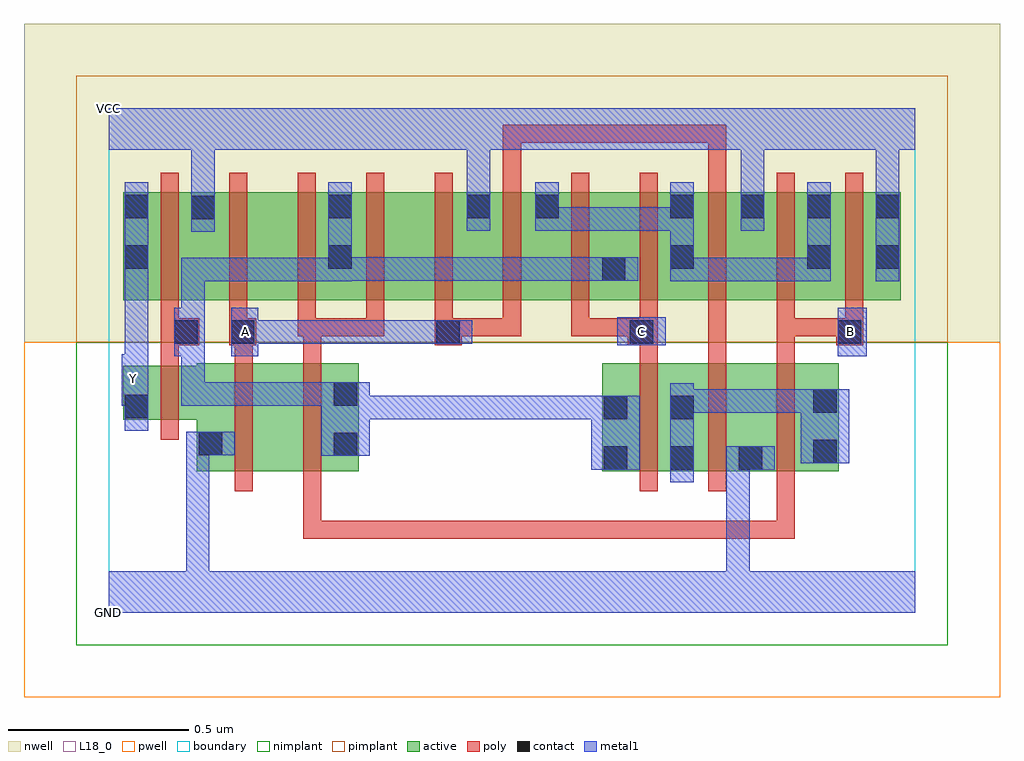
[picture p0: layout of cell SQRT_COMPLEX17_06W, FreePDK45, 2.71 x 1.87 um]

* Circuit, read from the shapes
.subckt SQRT_COMPLEX17_06W A B C GND VCC Y
M1 GND n1 Y VSUBS nfet w=0.15u l=0.05u
M2 n2 A GND VSUBS nfet w=0.3u l=0.05u
M3 n1 B n2 VSUBS nfet w=0.3u l=0.05u
M4 n3 C n1 VSUBS nfet w=0.3u l=0.05u
M5 GND A n3 VSUBS nfet w=0.3u l=0.05u
M6 n3 B GND VSUBS nfet w=0.3u l=0.05u
M7 VCC n1 Y n4 pfet w=0.3u l=0.05u
M8 n5 A VCC n4 pfet w=0.3u l=0.05u
M9 n1 B n5 n4 pfet w=0.3u l=0.05u
M10 n6 B n1 n4 pfet w=0.3u l=0.05u
M11 VCC A n6 n4 pfet w=0.3u l=0.05u
M12 n7 A VCC n4 pfet w=0.3u l=0.05u m=2
M13 n1 C n7 n4 pfet w=0.3u l=0.05u m=2
M14 n7 B VCC n4 pfet w=0.3u l=0.05u m=2
.ends

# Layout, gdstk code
import gdstk
lib = gdstk.Library(unit=1e-6, precision=1e-09)
def R(c, l, rs):  # rectangles x0, y0, x1, y1
    for r in rs: c.add(gdstk.rectangle(r[:2], r[2:], *l))
def A(c, l, x, y, w, h, nx, ny, dx, dy):  # array of equal rectangles
    R(c, l, [(x+i*dx, y+j*dy, x+i*dx+w, y+j*dy+h) for i in range(nx) for j in range(ny)])
active = (1, 0)
pwell = (2, 0)
nwell = (3, 0)
nimplant = (4, 0)
pimplant = (5, 0)
poly = (9, 0)
contact = (10, 0)
metal1 = (11, 0)
L18_0 = (18, 0)
boundary = (235, 0)

sqrt_complex17_06w = lib.new_cell('SQRT_COMPLEX17_06W')
R(sqrt_complex17_06w, active, [(0.245,0.392,0.47,0.692), (0.245,0.392,0.32,0.662), (0.47,0.392,0.695,0.692), (0.62,0.392,0.695,0.692), (1.37,0.392,1.445,0.692), (1.37,0.392,1.63,0.692), (1.555,0.392,1.82,0.692), (1.555,0.392,1.63,0.607), (1.745,0.392,1.82,0.692), (1.745,0.392,2.027,0.692), (1.952,0.392,2.027,0.692), (0.04,0.535,0.32,0.685), (0.04,0.535,0.115,0.685), (0.04,0.867,0.3,1.167), (0.04,0.867,0.115,1.165), (0.225,0.867,0.3,1.167), (0.225,0.867,0.455,1.167), (0.455,0.867,0.68,1.167), (0.605,0.867,0.835,1.167), (0.605,0.867,0.68,1.165), (0.835,0.867,1.065,1.167), (0.99,0.867,1.065,1.167), (0.99,0.867,1.255,1.167), (1.18,0.867,1.255,1.167), (1.18,0.867,1.44,1.167), (1.365,0.867,1.63,1.167), (1.365,0.867,1.44,1.07), (1.555,0.867,1.63,1.167), (1.555,0.867,1.825,1.167), (1.75,0.867,1.825,1.167), (1.75,0.867,2.01,1.167), (1.935,0.867,2.01,1.167), (1.935,0.867,2.2,1.167), (2.125,0.867,2.2,1.167)])
R(sqrt_complex17_06w, pwell, [(-0.235,-0.235,2.475,0.75)])
R(sqrt_complex17_06w, nwell, [(-0.235,0.75,2.475,1.635)])
R(sqrt_complex17_06w, nimplant, [(-0.09,-0.09,2.33,0.75)])
R(sqrt_complex17_06w, pimplant, [(-0.09,0.75,2.33,1.49)])
A(sqrt_complex17_06w, poly, 1.475, 0.337, 0.05, 0.41, 3, 1, 0.19, 0)
A(sqrt_complex17_06w, poly, 0.145, 0.767, 0.05, 0.095, 8, 1, 0.19, 0)
A(sqrt_complex17_06w, poly, 0.145, 0.812, 0.05, 0.41, 11, 1, 0.19, 0)
R(sqrt_complex17_06w, poly, [(0.54,0.205,0.59,0.255), (0.54,0.205,0.59,0.255), (0.54,0.205,0.59,0.255), (0.54,0.205,0.59,0.387), (0.54,0.205,0.822,0.255), (0.772,0.205,0.822,0.255), (0.772,0.205,0.822,0.255), (0.772,0.205,0.822,0.255), (0.772,0.205,1.012,0.255), (0.962,0.205,1.012,0.255), (0.962,0.205,1.012,0.255), (0.962,0.205,1.012,0.255), (0.962,0.205,1.145,0.255), (1.095,0.205,1.145,0.255), (1.095,0.205,1.145,0.255), (1.095,0.205,1.145,0.255), (1.095,0.205,1.335,0.255), (1.285,0.205,1.335,0.255), (1.285,0.205,1.467,0.255), (1.417,0.205,1.467,0.255), (1.417,0.205,1.467,0.255), (1.417,0.205,1.467,0.255), (1.417,0.205,1.632,0.255), (1.582,0.205,1.632,0.255), (1.582,0.205,1.772,0.255), (1.722,0.205,1.772,0.255), (1.722,0.205,1.905,0.255), (1.855,0.205,1.905,0.255), (1.855,0.205,1.905,0.255), (1.855,0.205,1.905,0.255), (1.855,0.205,1.905,0.387), (0.35,0.337,0.4,0.747), (0.54,0.337,0.59,0.747), (0.145,0.48,0.195,0.74), (0.145,0.69,0.195,0.792), (0.35,0.697,0.4,0.792), (0.54,0.697,0.59,0.817), (1.475,0.697,1.525,0.792), (1.665,0.697,1.715,0.792), (1.855,0.697,1.905,0.817), (0.145,0.742,0.252,0.817), (0.335,0.742,0.41,0.817), (0.905,0.742,0.98,0.817), (1.442,0.742,1.525,0.817), (1.665,0.742,1.715,0.792), (1.665,0.742,1.715,0.862), (2.02,0.742,2.095,0.817), (0.525,0.767,0.59,0.817), (0.54,0.767,0.59,0.817), (0.54,0.767,0.59,0.817), (0.54,0.767,0.765,0.817), (0.715,0.767,0.765,0.817), (0.93,0.767,0.98,0.817), (0.93,0.767,0.98,0.817), (0.93,0.767,1.145,0.817), (1.095,0.767,1.145,0.817), (1.285,0.767,1.335,0.817), (1.285,0.767,1.335,0.817), (1.285,0.767,1.335,0.817), (1.285,0.767,1.492,0.817), (1.855,0.767,1.905,0.862), (1.855,0.767,1.905,0.817), (1.855,0.767,2.07,0.817), (2.02,0.767,2.07,0.817), (2.02,0.767,2.07,0.817), (2.045,0.767,2.095,0.862), (1.095,1.172,1.145,1.355), (1.665,1.172,1.715,1.355), (1.095,1.305,1.145,1.355), (1.095,1.305,1.145,1.355), (1.095,1.305,1.145,1.355), (1.095,1.305,1.277,1.355), (1.227,1.305,1.277,1.355), (1.227,1.305,1.277,1.355), (1.227,1.305,1.277,1.355), (1.227,1.305,1.517,1.355), (1.467,1.305,1.517,1.355), (1.467,1.305,1.715,1.355), (1.665,1.305,1.715,1.355), (1.665,1.305,1.715,1.355), (1.665,1.305,1.715,1.355)])
R(sqrt_complex17_06w, contact, [(1.375,0.397,1.44,0.462), (1.56,0.397,1.625,0.462), (1.75,0.397,1.815,0.462), (1.957,0.415,2.022,0.48), (0.625,0.435,0.69,0.5), (0.25,0.437,0.315,0.502), (1.375,0.537,1.44,0.602), (1.56,0.537,1.625,0.602), (0.045,0.54,0.11,0.605), (1.957,0.555,2.022,0.62), (0.625,0.575,0.69,0.64), (0.182,0.747,0.247,0.812), (0.34,0.747,0.405,0.812), (0.91,0.747,0.975,0.812), (1.447,0.747,1.512,0.812), (2.025,0.747,2.09,0.812), (1.37,0.922,1.435,0.987), (0.045,0.955,0.11,1.02), (0.61,0.955,0.675,1.02), (1.56,0.955,1.625,1.02), (1.94,0.955,2.005,1.02), (2.13,0.955,2.195,1.02), (0.23,1.092,0.295,1.157), (0.045,1.095,0.11,1.16), (0.61,1.095,0.675,1.16), (0.995,1.095,1.06,1.16), (1.185,1.095,1.25,1.16), (1.56,1.095,1.625,1.16), (1.755,1.095,1.82,1.16), (1.94,1.095,2.005,1.16), (2.13,1.095,2.195,1.16)])
R(sqrt_complex17_06w, metal1, [(0,0,2.24,0.115), (0.215,0.05,0.28,0.115), (0.215,0.05,0.28,0.115), (0.215,0.05,0.28,0.115), (0.215,0.05,0.28,0.115), (0.215,0.05,0.28,0.502), (1.715,0.05,1.78,0.115), (1.715,0.05,1.78,0.115), (1.715,0.05,1.78,0.462), (1.56,0.362,1.625,0.637), (1.34,0.397,1.475,0.602), (1.715,0.397,1.78,0.462), (1.715,0.397,1.78,0.462), (1.715,0.397,1.85,0.462), (1.922,0.415,2.057,0.62), (0.59,0.435,0.725,0.64), (0.215,0.437,0.35,0.502), (0.045,0.505,0.11,0.64), (0.66,0.537,0.795,0.602), (0.73,0.537,0.795,0.602), (0.73,0.537,0.867,0.602), (0.802,0.537,0.867,0.602), (0.802,0.537,0.932,0.602), (0.867,0.537,0.932,0.602), (0.867,0.537,1.005,0.602), (0.94,0.537,1.005,0.602), (0.94,0.537,1.157,0.602), (1.092,0.537,1.157,0.602), (1.092,0.537,1.157,0.602), (1.092,0.537,1.157,0.602), (1.092,0.537,1.295,0.602), (1.23,0.537,1.295,0.602), (1.23,0.537,1.405,0.602), (1.56,0.555,1.625,0.62), (1.56,0.555,1.625,0.62), (1.56,0.555,1.762,0.62), (1.697,0.555,1.762,0.62), (1.697,0.555,1.762,0.62), (1.697,0.555,1.762,0.62), (1.697,0.555,1.987,0.62), (0.037,0.575,0.11,0.717), (0.045,0.575,0.11,0.64), (0.202,0.575,0.267,0.64), (0.202,0.575,0.517,0.64), (0.202,0.575,0.267,0.777), (0.452,0.575,0.517,0.64), (0.452,0.575,0.517,0.64), (0.452,0.575,0.517,0.64), (0.452,0.575,0.655,0.64), (0.59,0.575,0.655,0.64), (0.59,0.575,0.655,0.64), (0.045,0.652,0.11,0.985), (0.182,0.712,0.247,0.847), (0.182,0.712,0.267,0.777), (0.202,0.712,0.267,0.777), (0.202,0.712,0.267,0.985), (0.34,0.712,0.415,0.847), (2.025,0.712,2.105,0.847), (1.412,0.742,1.547,0.82), (0.35,0.747,0.475,0.812), (0.41,0.747,0.475,0.812), (0.41,0.747,0.657,0.812), (0.592,0.747,0.657,0.812), (0.592,0.747,0.657,0.812), (0.592,0.747,0.657,0.812), (0.592,0.747,0.795,0.812), (0.73,0.747,0.795,0.812), (0.73,0.747,0.867,0.812), (0.802,0.747,0.867,0.812), (0.802,0.747,0.94,0.812), (0.875,0.747,1.01,0.812), (0.045,0.92,0.11,1.195), (0.202,0.92,0.267,0.985), (0.202,0.92,0.517,0.985), (0.452,0.92,0.517,0.985), (0.452,0.92,0.517,0.985), (0.452,0.92,0.517,0.985), (0.452,0.92,0.657,0.985), (0.592,0.92,0.657,0.985), (0.592,0.92,0.675,0.985), (0.61,0.92,0.675,1.195), (1.56,0.92,1.625,0.985), (1.56,0.92,1.625,0.985), (1.56,0.92,1.625,0.985), (1.56,0.92,1.625,0.985), (1.56,0.92,1.625,1.195), (1.56,0.92,1.762,0.985), (1.697,0.92,1.762,0.985), (1.697,0.92,1.762,0.985), (1.697,0.92,1.762,0.985), (1.697,0.92,2.005,0.985), (1.94,0.92,2.005,1.195), (2.13,0.92,2.195,1.195), (0.61,0.922,0.795,0.987), (0.73,0.922,0.795,0.987), (0.73,0.922,0.867,0.987), (0.802,0.922,0.867,0.987), (0.802,0.922,0.982,0.987), (0.917,0.922,0.982,0.987), (0.917,0.922,1.017,0.987), (0.952,0.922,1.017,0.987), (0.952,0.922,1.155,0.987), (1.09,0.922,1.155,0.987), (1.09,0.922,1.155,0.987), (1.09,0.922,1.155,0.987), (1.09,0.922,1.295,0.987), (1.23,0.922,1.295,0.987), (1.23,0.922,1.4,0.987), (1.335,0.922,1.47,0.987), (0.23,1.057,0.295,1.192), (0.995,1.06,1.06,1.195), (1.185,1.06,1.25,1.195), (1.185,1.06,1.295,1.125), (1.23,1.06,1.295,1.125), (1.23,1.06,1.407,1.125), (1.342,1.06,1.407,1.125), (1.342,1.06,1.487,1.125), (1.422,1.06,1.487,1.125), (1.422,1.06,1.625,1.125), (1.755,1.06,1.82,1.195), (0.23,1.127,0.295,1.23), (0.995,1.13,1.06,1.235), (1.755,1.13,1.82,1.232), (2.13,1.13,2.195,1.225), (2.13,1.16,2.195,1.35), (2.13,1.16,2.195,1.225), (0.23,1.165,0.295,1.23), (0.23,1.165,0.295,1.35), (1.755,1.167,1.82,1.232), (1.755,1.167,1.82,1.35), (0.995,1.17,1.06,1.235), (0.995,1.17,1.06,1.35), (0,1.285,2.24,1.4)])
R(sqrt_complex17_06w, L18_0, [(0,0,2.24,0.115), (0.215,0.05,0.28,0.115), (0.215,0.05,0.28,0.115), (0.215,0.05,0.28,0.115), (0.215,0.05,0.28,0.115), (0.215,0.05,0.28,0.502), (1.715,0.05,1.78,0.115), (1.715,0.05,1.78,0.115), (1.715,0.05,1.78,0.462), (1.715,0.397,1.78,0.462), (1.715,0.397,1.78,0.462), (1.715,0.397,1.85,0.462), (0.215,0.437,0.35,0.502), (0.045,0.505,0.11,0.64), (0.037,0.575,0.11,0.717), (0.045,0.575,0.11,0.64), (0.037,0.617,0.102,0.682), (0.045,0.652,0.11,0.985), (0.34,0.712,0.415,0.847), (2.025,0.712,2.105,0.847), (1.412,0.742,1.547,0.82), (0.347,0.747,0.412,0.812), (0.35,0.747,0.475,0.812), (0.41,0.747,0.475,0.812), (0.41,0.747,0.657,0.812), (0.592,0.747,0.657,0.812), (0.592,0.747,0.657,0.812), (0.592,0.747,0.657,0.812), (0.592,0.747,0.795,0.812), (0.73,0.747,0.795,0.812), (0.73,0.747,0.867,0.812), (0.802,0.747,0.867,0.812), (0.802,0.747,0.94,0.812), (0.875,0.747,1.01,0.812), (1.447,0.747,1.512,0.812), (2.027,0.747,2.092,0.812), (0.045,0.92,0.11,1.195), (2.13,0.92,2.195,1.195), (0.23,1.057,0.295,1.192), (0.995,1.06,1.06,1.195), (1.755,1.06,1.82,1.195), (0.23,1.127,0.295,1.23), (0.995,1.13,1.06,1.235), (1.755,1.13,1.82,1.232), (2.13,1.13,2.195,1.225), (2.13,1.16,2.195,1.225), (2.13,1.16,2.195,1.35), (0.23,1.165,0.295,1.23), (0.23,1.165,0.295,1.35), (1.755,1.167,1.82,1.232), (1.755,1.167,1.82,1.35), (0.995,1.17,1.06,1.235), (0.995,1.17,1.06,1.35), (0,1.285,2.24,1.4)])
R(sqrt_complex17_06w, boundary, [(0,0,2.24,1.4)])
sqrt_complex17_06w.add(gdstk.Label('A', (0.38,0.78), layer=11, texttype=0))
sqrt_complex17_06w.add(gdstk.Label('B', (2.06,0.78), layer=11, texttype=0))
sqrt_complex17_06w.add(gdstk.Label('C', (1.48,0.78), layer=11, texttype=0))
sqrt_complex17_06w.add(gdstk.Label('Y', (0.07,0.65), layer=11, texttype=0))
sqrt_complex17_06w.add(gdstk.Label('VCC', (0,1.4), layer=11, texttype=0))
sqrt_complex17_06w.add(gdstk.Label('GND', (0,0), layer=11, texttype=0))

lib.write_gds('SQRT_COMPLEX17_06W.gds')
